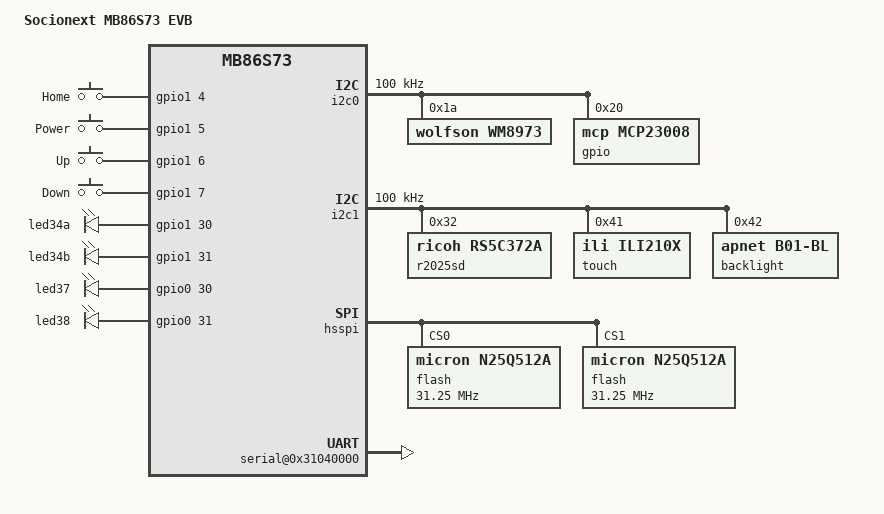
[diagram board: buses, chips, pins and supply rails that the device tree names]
/*
 * Copyright (C) 2013-2015 Linaro, LTD for FUJITSU SEMICONDUCTOR LIMITED
 * Copyright (C) 2015-2016 Socionext Inc.
 *
 * This program is free software; you can redistribute it and/or modify
 * it under the terms of the GNU General Public License version 2 as
 * published by the Free Software Foundation.
 */

/dts-v1/;
#include <dt-bindings/gpio/gpio.h>
/include/ "mb86s73.dtsi"

/ {
	model = "Socionext MB86S73 EVB";
	compatible = "fujitsu,mb86s73eb","fujitsu,mb86s73";

	memory {
		device_type = "memory";
		reg = <0 0x80000000 0x40000000>;
	};

	chosen {
		bootargs = "shm_offset=2048 loglevel=8 console=ttyS0,115200 root=/dev/mmcblk0p2 rootfstype=ext4 rootwait rw pcie_ports=native                                                       ";

		linux,initrd-start = <0x88000000>;
		linux,initrd-end =   <0x88800000>;
		/* Backward compatibility for 2016.03-1-1 */
		/* linux,initrd-start = <0xc0000000>; */
		/* linux,initrd-end =   <0xc0800000>; */
	};

	gpio0: mb86s70_gpio0 {
		compatible = "fujitsu,mb86s70-gpio";
		reg = <0 0x31000000 0x10000>;
		gpio-controller;
		#gpio-cells = <2>;
		clocks = <&clk_alw_2_1>;
		base = <0>;
	};
	gpio1: mb86s70_gpio1 {
		compatible = "fujitsu,mb86s70-gpio";
		reg = <0 0x31010000 0x10000>;
		gpio-controller;
		#gpio-cells = <2>;
		clocks = <&clk_alw_2_1>;
		base = <32>;
	};

	gpio-revision {
		compatible = "fujitsu,gpio-revision";
	};

	gpio-keys {
		compatible = "gpio-keys-polled";
		poll-interval = <20>;

		home {
			label = "Home";
			gpios = <&gpio1 4 GPIO_ACTIVE_HIGH>;
			linux,code = <102>;
			gpio-key;
		};
		power {
			label = "Power";
			gpios = <&gpio1 5 GPIO_ACTIVE_HIGH>;
			linux,code = <28>;
			gpio-key;
		};
		up {
			label = "Up";
			gpios = <&gpio1 6 GPIO_ACTIVE_HIGH>;
			linux,code = <103>;
			gpio-key;
		};
		down {
			label = "Down";
			gpios = <&gpio1 7 GPIO_ACTIVE_HIGH>;
			linux,code = <108>;
			gpio-key;
		};
	};

	videomodes@0 {
		compatible = "video-modes";
		mode0: mode@0 {
			mode  = "800x480x32bpp";
			hactive = <800>; /* htotal 928 (+128) */
			vactive = <480>; /* Vtotal 525 (+95) */
			hback-porch = <96>;
			hfront-porch = <1>;
			hsync-len = <31>;
			vback-porch = <37>;
			vfront-porch = <55>;
			vsync-len = <3>;
			flags = <0x25>; /* h low, v low, de high */
			clock = <32800>; /* 32.8MHz link clock */
			bpp = <32>;
			width-mm = <163>;
			height-mm = <92>;
			/* scanout-rotation = <0>; */
			red_offset      = <16>;
			red_length      = <8>;
			green_offset    = <8>;
			green_length    = <8>;
			blue_offset     = <0>;
			blue_length     = <8>;
			alpha_offset    = <0>;
			alpha_length    = <0>;
		};

		mode1: mode@1 {
			mode  = "800x480x16bpp";
			hactive = <800>; /* htotal 928 (+128) */
			vactive = <480>; /* Vtotal 525 (+95) */
			hback-porch = <96>;
			hfront-porch = <1>;
			hsync-len = <31>;
			vback-porch = <37>;
			vfront-porch = <55>;
			vsync-len = <3>;
			flags = <0x25>; /* h low, v low, de high */
			clock = <32800>; /* 32.8MHz link clock */
			bpp = <16>;
			width-mm = <163>;
			height-mm = <92>;
			/* scanout-rotation = <0>; */
			red_offset      = <11>;
			red_length      = <5>;
			green_offset    = <5>;
			green_length    = <6>;
			blue_offset     = <0>;
			blue_length     = <5>;
			alpha_offset    = <0>;
			alpha_length    = <0>;
		}; 
	};

	i2c0 {
		compatible = "fujitsu,f_i2c";
		reg = <0 0x31200000 0x10000>;
		interrupts = <0 312 0x4>;
		#address-cells = <1>;
		#size-cells = <0>;
		clock-frequency = <100000>;
		clocks = <&clk_alw_2_8>;
		power-domains = <&power 1>;

		wm8973: wm8973@1a {
			compatible = "wolfson,wm8973";
			reg = <0x1a>;
		};

		gpio@20 {
			compatible = "mcp,mcp23008";
			reg = <0x20>;
			gpio-controller;
			#gpio-cells = <2>;
		};

	};
	gpio-leds {
		compatible = "gpio-leds";

		d34_a {
			label = "led34a";
			gpios = <&gpio1 30 GPIO_ACTIVE_HIGH>;
			linux,default-trigger = "heartbeat";
		};
		d34_b {
			label = "led34b";
			gpios = <&gpio1 31 GPIO_ACTIVE_HIGH>;
			linux,default-trigger = "mmc1";
		};
/*
 * conflicts GPIO NOR
		d35 {
			label = "led35";
			gpios = <&gpio0 28 GPIO_ACTIVE_HIGH>;
			linux,default-trigger = "default-on";
		};
		d36 {
			label = "led36";
			gpios = <&gpio0 29 GPIO_ACTIVE_HIGH>;
		};
*/
		d37 {
			label = "led37";
			gpios = <&gpio0 30 GPIO_ACTIVE_HIGH>;
			linux,default-trigger = "default-on";
		};
		d38 {
			label = "led38";
			gpios = <&gpio0 31 GPIO_ACTIVE_HIGH>;
		};

	};
/*
 * conflicts GPIO NOR
	gpio-keys {
		compatible = "gpio-keys-polled";
		poll-interval = <20>;
		home {
			label = "Home";
			gpios = <&gpio1 4 0>;
			linux,code = <102>; // KEY_HOME
			gpio-key;
		};
		power {
			label = "Power";
			gpios = <&gpio1 5 0>;
			linux,code = <116>; // KEY_POWER
			gpio-key;
		};

		up {
			label = "Up";
			gpios = <&gpio1 6 0>;
			linux,code = <103>;
			gpio-key;
		};
		down {
			label = "Down";
			gpios = <&gpio1 7 0>;
			linux,code = <108>;
			gpio-key;
		};
	};
*/

	i2c1 {
		compatible = "fujitsu,f_i2c";

		reg = <0 0x31210000 0x10000>;
		interrupts = <0 313 0x4>;
		#address-cells = <1>;
		#size-cells = <0>;
		clocks = <&clk_alw_2_8>;
		clock-frequency = <100000>;
		power-domains = <&power 1>;

		r2025sd: r2025sd@32 {
			compatible = "ricoh,rs5c372a", "r2025sd";
			reg = <0x32>;
		};

		touch: ili210x@41 {
			compatible = "ili,ili210x", "ili210x";
			reg = <0x41>;
			interrupts = <0 90 0x4>; /* PD42 - EXTINT10 shared */
		};

		backlight: backlight@42 {
			compatible = "apnet,b01-bl";
			reg = <0x42>;
			interrupts = <0 90 0x4>; /* PD42 - EXTINT10 shared */
			key1 = <1>; /* KEY_ESC */
			key2 = <59>; /* KEY_F1 */
			key3 = <240>;  /* KEY_UNKNOWN */
		};

	};

	hsspi: hsspi.0 {
		compatible = "fujitsu,mb86s7x-hsspi";
		reg = <0 0x30010000 0x1000>,
		      <0 0x48000000 0x1000000>;
		interrupts = <0 361 0x4>,
			     <0 360 0x4>,
			     <0 362 0x4>;
		mode = <1>; // HS_SPI_DIRECT_MODE
		read_operation = <1>; // HS_SPI_NORMAL_READ
		write_operation = <5>; // HS_SPI_NORMAL_WRITE
		active_clk_edges;
		bank_size = <0x01000000>;	// 16MB flash bank
		num_chipselect = <2>;
		addr_width = <3>;
		dma_rx_dreq = <0x800000>; // XDDES_TF_DREQ6 !!! GUESSED
		dma_tx_dreq = <0x900000>; // XDDES_TF_DREQ7 !!! GUESSED
		dma_channel = <0>;
		sync_on = <1>;
		clock = <0>; // HS_SPI_HCLK
		clocks = <&clk_alw_1_0>, <&clk_alw_2_1>;
		clock-names = "iHCLK", "iPCLK";
		#address-cells = <1>;
		#size-cells = <0>;

		flash@0 {
			compatible = "micron,n25q512a";
			spi-max-frequency = <31250000>;
			spi-rx-bus-width = <4>;
			spi-tx-bus-width = <4>;
			reg = <0>;
			spi-cpha;
			spi-cpol;
			#address-cells = <1>;
			#size-cells = <1>;

			spipart0@0 {
				label = "scb-spi-firmware";
				reg = <0 0x200000>;
			};

			spipart1@1 {
				label = "spi-romfs";
				reg = <0x200000 0x100000>;
			};
			spipart2@2 {
				label = "spi-user0";
				reg = <0x300000 0xd00000>;
			};

		};

		flash@1 {
			compatible = "micron,n25q512a";
			spi-max-frequency = <31250000>;
			spi-rx-bus-width = <4>;
			spi-tx-bus-width = <4>;
			reg = <1>;
			spi-cpha;
			spi-cpol;
			#address-cells = <1>;
			#size-cells = <1>;

			spipart0@0 {
				label = "spi-user1";
				reg = <0 0x1000000>;
			};
		};
	};

	gpio-flash@xcs4-gpio {
		compatible = "gpio-control-nor";

		status = "disabled";

		reg = <0 0x2a4d0000 0x10000>; /* prmux */
		#address-cells = <1>;
		#size-cells = <1>;
		bank-width = <2>;
		device-width = <2>;
		power-domains = <&power 2>;

		gpios = <&gpio0 30 0>,	/* rdy PD30 */
			 <&gpio0 8 0>, 	/* nce */
			 <&gpio0 10 0>, 	/* noe */
			 <&gpio0 13 0>, 	/* nwe */

			/* 16 data */

			<&gpio0 14 0>,
			<&gpio0 15 0>,
			<&gpio0 16 0>,
			<&gpio0 17 0>,
			<&gpio0 18 0>,
			<&gpio0 19 0>,
			<&gpio0 20 0>,
			<&gpio0 21 0>,
			<&gpio0 22 0>,
			<&gpio0 23 0>,
			<&gpio0 24 0>,
			<&gpio0 25 0>,
			<&gpio0 26 0>,
			<&gpio0 27 0>,
			<&gpio0 28 0>,
			<&gpio0 29 0>,

			/* as many address as we have (22) */

			<&gpio1 0 0>,
			<&gpio1 1 0>,
			<&gpio1 2 0>,
			<&gpio1 3 0>,
			<&gpio1 4 0>,
			<&gpio1 5 0>,
			<&gpio1 6 0>,
			<&gpio1 7 0>,
			<&gpio1 8 0>,
			<&gpio1 9 0>,
			<&gpio1 10 0>,
			<&gpio1 11 0>,
			<&gpio1 12 0>,
			<&gpio1 13 0>,
			<&gpio1 14 0>,
			<&gpio1 15 0>,
			<&gpio1 16 0>,
			<&gpio1 17 0>,
			<&gpio1 18 0>,
			<&gpio1 19 0>,
			<&gpio1 20 0>,
			<&gpio1 21 0>;

		firmware@0 { /* 2MByte firmware region */
			label = "firmware";
			reg = <0 0x200000>;
		};

		romfs@200000 { /* only 8MByte is addressable by gpio */
			label = "romfs";
			reg = <0x200000 0x5e0000>;
		};
		
	};

	/* Enable only UART0 of S73-evb */
	serial@0x31040000 {
		status = "okay";
	};
	serial@0x31050000 {
		status = "disabled";
	};
	serial@0x31060000 {
		status = "disabled";
	};

	timer {
		compatible = "arm,armv7-timer";
		clock-frequency = <125000000>;
		interrupts = <1 13 0xf08>, /* PHYS Secure */
			     <1 14 0xf08>; /* PHYS Non-Secure */
	};
};
